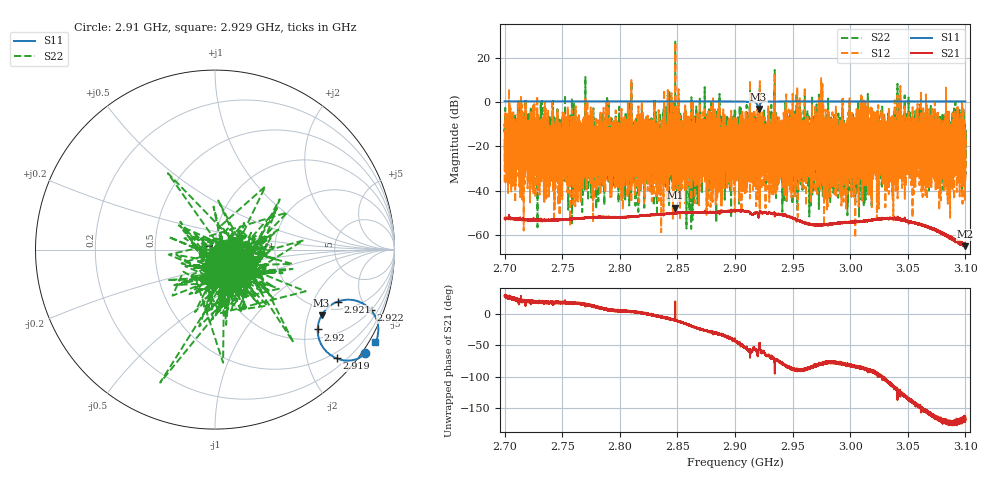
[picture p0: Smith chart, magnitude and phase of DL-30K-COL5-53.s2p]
!Agilent Technologies,N5230C,SG49000117,A.08.50.07
!Agilent N5230C: A.08.50.07
!Date: Wednesday, January 24, 2024 19:23:48
!Correction: S11(Full 2 Port(1,2))
!S21(Full 2 Port(1,2))
!S12(Full 2 Port(1,2))
!S22(Full 2 Port(1,2))
!S2P File: Measurements: S11, S21, S12, S22:
# Hz S  RI  R 50
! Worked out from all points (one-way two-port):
!   20001 points, 2.7 GHz to 3.1 GHz, reference 50 ohm
!   highest |S21| = -47.65 dB at 2.848 GHz (marker M1); lowest = -65.0 dB at 3.1 GHz (marker M2)
!   lowest |S11| = -3.1 dB at 2.92 GHz (marker M3), VSWR 5.61, Z = 85.8 - j122 ohm
!   |S11| at or under -10 dB: nowhere
!   |S22| runs from -57.2 to 27.8 dB; largest |S21 - S12| = 22
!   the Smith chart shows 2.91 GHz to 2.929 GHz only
!   S11 on the Smith chart (normalised r, x): 2.91 GHz: -0.09, -3.21; 2.919 GHz: 0.37, -2.57; 2.92 GHz: 1.25, -2.34; 2.921 GHz: 2.44, -3.16; 2.922 GHz: 0.99, -5.16; 2.929 GHz: -0.22, -3.71
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2.7e9  0.9053 -0.5213  0.00207 0.00115  0.00937 0.013  0.2122 -0.0944
2.70206e9  0.9033 -0.5214  0.00212 0.0011  -0.01 0.0215  0.2509 -0.0559
2.70552e9  0.9037 -0.5222  0.00218 0.00114  0.0622 -0.2545  -0.0697 -0.1083
2.73224e9  0.8987 -0.5262  0.00207 0.00067  -0.0625 -0.0803  0.2088 0.1026
2.76668e9  0.8972 -0.5327  0.00231 0.000713  -0.0724 0.0624  -0.1119 0.028
2.81602e9  0.888 -0.5409  0.00268 0.000148  -0.0907 0.000749  -0.1203 0.0578
2.83334e9  0.8855 -0.5442  0.0029 -0.000181  0.0332 -0.0171  -0.0264 0.0138
2.84814e9  0.884 -0.5476  0.0039 0.00142  -3.416 21.63  -14.88 19.41
2.9e9  0.865 -0.5645  0.00265 -0.0024  0.0378 0.0937  0.0563 -0.1034
2.91022e9  0.8366 -0.5776  0.00195 -0.00285  0.00285 0.0477  0.0907 -0.1202
2.91902e9  0.6773 -0.6055  0.00161 -0.00287  -0.118 0.2025  -0.155 -0.091
2.92016e9  0.5721 -0.4448  0.00117 -0.00228  -0.0208 -0.00928  0.1205 -0.1607
2.92046e9  0.5937 -0.3662  0.0014 -0.0021  -0.1195 -0.05  0.0494 -0.037
2.9209e9  0.6846 -0.2892  0.00178 -0.00205  -0.0989 0.1758  0.1106 -0.1744
2.92202e9  0.8697 -0.3374  0.0019 -0.00285  0.00378 -0.0703  0.0436 -0.0623
2.92938e9  0.8909 -0.5162  0.0013 -0.0029  0.1336 -0.1027  0.047 0.00378
2.96668e9  0.8808 -0.5489  0.000205 -0.00175  0.0282 -0.1473  0.0625 0.0779
3.00742e9  0.8703 -0.5596  0.00021 -0.00203  -0.135 0.1442  0.0287 0.00484
3.03334e9  0.8662 -0.5668  -0.000736 -0.0022  -0.101 -0.0129  0.0881 -0.1315
3.06282e9  0.8613 -0.5756  -0.00147 -0.000725  0.0631 0.0531  0.2139 0.1447
3.0998e9  0.856 -0.5801  -0.000547 -0.000139  0.0439 0.00915  -0.092 0.1668
3.1e9  0.8559 -0.5803  -0.000581 -0.000111  -0.0258 -0.1123  0.0767 0.0696
